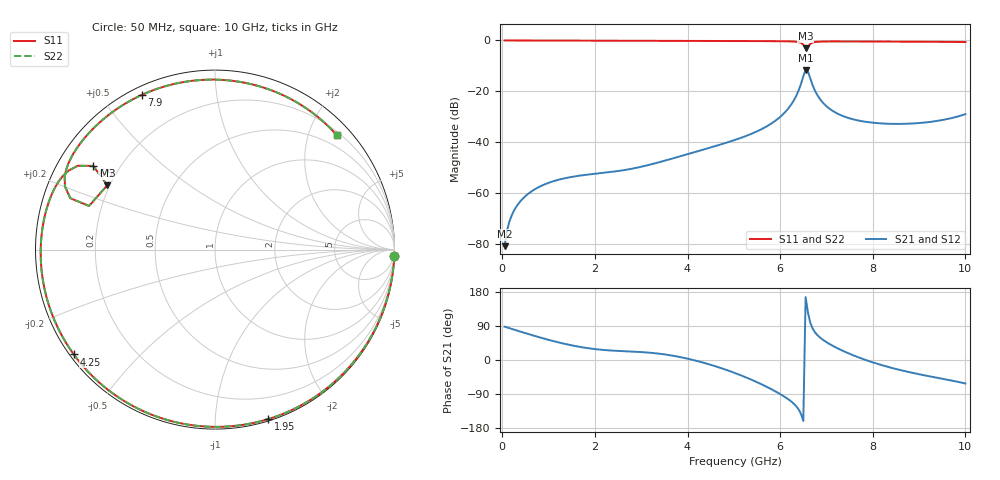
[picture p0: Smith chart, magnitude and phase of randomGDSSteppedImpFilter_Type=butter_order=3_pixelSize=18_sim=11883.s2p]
! freq	dB(S11)	phase(S11)	dB(S12)	phase(S12)
!  dB(S21)	phase(S21)	dB(S22)	phase(S22)
!S-par simulation data
#  GHz  S  DB  R 50
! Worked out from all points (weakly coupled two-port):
!   200 points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, 50 MHz to 10 GHz, reference 50 ohm
!   highest |S21| = -11.60 dB at 6.55 GHz (marker M1); lowest = -80.9 dB at 50 MHz (marker M2)
!   lowest |S11| = -3.1 dB at 6.55 GHz (marker M3), VSWR 5.64, Z = 9.52 + j13.3 ohm
!   |S11| at or under -10 dB: nowhere
!   |S22| runs from -3.1 to 0.0 dB; largest |S21 - S12| = 0
!   S11 on the Smith chart (normalised r, x): 50 MHz: 0, -58; 1.95 GHz: 0.01, -1.36; 4.25 GHz: 0.01, -0.33; 6.5 GHz: 0.11, +0.31; 7.9 GHz: 0.03, +0.63; 10 GHz: 0.26, +2.50
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0.05  -0.00 -2.0  -80.94 88.0  -80.94 88.0  -0.00 -2.0
0.2  -0.01 -7.8  -68.96 82.2  -68.96 82.2  -0.01 -7.8
0.5  -0.03 -19.4  -61.24 70.8  -61.24 70.8  -0.03 -19.4
1  -0.05 -38.4  -56.02 53.1  -56.02 53.1  -0.05 -38.4
1.75  -0.08 -65.6  -53.00 33.1  -53.00 33.1  -0.08 -65.6
1.95  -0.09 -72.5  -52.57 29.6  -52.57 29.6  -0.09 -72.6
2.65  -0.11 -95.7  -50.96 23.1  -50.96 23.1  -0.11 -95.7
3.4  -0.14 -118.9  -47.85 16.5  -47.85 16.5  -0.14 -118.9
4.25  -0.18 -143.4  -43.43 -4.0  -43.43 -4.0  -0.18 -143.4
5.05  -0.22 -165.7  -38.97 -35.6  -38.97 -35.6  -0.22 -165.7
6.05  -0.31 165.5  -29.26 -93.6  -29.26 -93.6  -0.31 165.5
6.3  -0.44 156.6  -23.43 -116.0  -23.43 -116.0  -0.44 156.6
6.5  -1.69 145.5  -14.09 -160.9  -14.09 -160.9  -1.68 145.5
6.55  -3.11 149.1  -11.60 165.9  -11.60 165.9  -3.10 149.1
6.6  -2.58 160.9  -12.20 125.4  -12.20 125.4  -2.58 160.9
6.7  -0.85 157.2  -17.55 83.3  -17.55 83.3  -0.84 157.1
6.85  -0.47 149.6  -22.81 60.4  -22.81 60.4  -0.47 149.5
7.1  -0.39 140.5  -27.30 39.8  -27.30 39.8  -0.39 140.5
7.9  -0.41 115.2  -32.15 -2.2  -32.15 -2.2  -0.41 115.2
8.35  -0.45 100.8  -32.79 -18.9  -32.79 -18.9  -0.45 100.8
9.2  -0.52 72.1  -32.13 -42.5  -32.13 -42.5  -0.52 72.1
10  -0.62 43.2  -29.01 -62.0  -29.01 -62.0  -0.62 43.2
